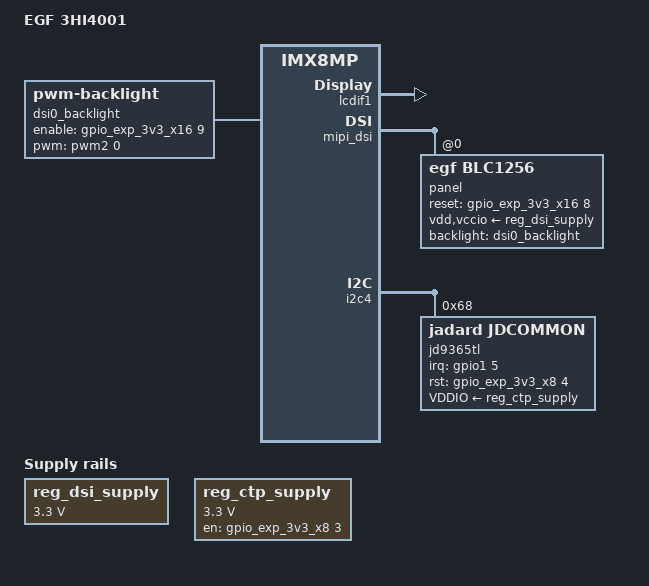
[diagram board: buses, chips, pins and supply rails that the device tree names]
// SPDX-License-Identifier: GPL-2.0+
/*
 * Copyright 2020 NXP
 * Copyright 2024 Elettronica GF s.r.l. con Socio Unico
 */

/dts-v1/;

#include "imx8mp-egf-3pb1001.dts"

 / {
	model = "EGF 3HI4001";
 
 	reg_dsi_supply: regulator-3v3-dsi{
		compatible = "regulator-fixed";
		regulator-name = "DSI-3V3";
		regulator-min-microvolt = <3300000>;
		regulator-max-microvolt = <3300000>;
	};
	
	reg_ctp_supply: regulator-3v3-ctp {
		compatible = "regulator-fixed";
		regulator-name = "VCC_3V3_CTP";
		gpio = <&gpio_exp_3v3_x8 3 GPIO_ACTIVE_HIGH>;
		regulator-min-microvolt = <3300000>;
		regulator-max-microvolt = <3300000>;
		enable-active-high;
		regulator-always-on;
	};
	
 	dsi0_backlight: backlight {
		compatible = "pwm-backlight";
		pwms = <&pwm2 0 100000 0>;
		enable-gpios = <&gpio_exp_3v3_x16 9 GPIO_ACTIVE_HIGH>;
		status = "okay";
		brightness-levels = < 0  1  2  3  4  5  6  7  8  9
				     10 11 12 13 14 15 16 17 18 19
				     20 21 22 23 24 25 26 27 28 29
				     30 31 32 33 34 35 36 37 38 39
				     40 41 42 43 44 45 46 47 48 49
				     50 51 52 53 54 55 56 57 58 59
				     60 61 62 63 64 65 66 67 68 69
				     70 71 72 73 74 75 76 77 78 79
				     80 81 82 83 84 85 86 87 88 89
				     90 91 92 93 94 95 96 97 98 99
				    100>;
		default-brightness-level = <80>;
    };
 };

&lcdif1 {
	status = "okay";
};

&mipi_dsi {
	status = "okay";
	panel@0 {
		compatible = "egf,blc1256";
        reg = <0>;
       	dsi-lanes = <4>;
        pinctrl-names = "default";	
		reset-gpio = <&gpio_exp_3v3_x16 8 GPIO_ACTIVE_HIGH>;
		vdd-supply =<&reg_dsi_supply>;
		vccio-supply =<&reg_dsi_supply>;
		backlight = <&dsi0_backlight>;	
		status = "okay";
	};
};



&i2c4 {


	jd9365tl@68 {
        compatible = "jadard,jdcommon","jadard,jd9365tl";
        pinctrl-names = "default";
		pinctrl-0 = <&pinctrl_ts>;
        reg = <0x68>;
        status = "okay";
        interrupts = <5 IRQ_TYPE_EDGE_FALLING>;
		jadard,irq-gpio = <&gpio1 5 GPIO_ACTIVE_HIGH>;
		jadard,rst-gpio = <&gpio_exp_3v3_x8 4 GPIO_ACTIVE_HIGH>;
		//jadard,panel-max-points = <4>;								/* Number of simultaneous tracks (for multitouch) [10 if not specified] */
		jadard,int-is-edge = <1>;
		//jadard,stylus = <1>;
		jadard,panel-sense-nums = <600 1024>;
		jadard,panel-coords = <0 600 0 1024>;
        VDDIO-supply = <&reg_ctp_supply>;
    };


};
